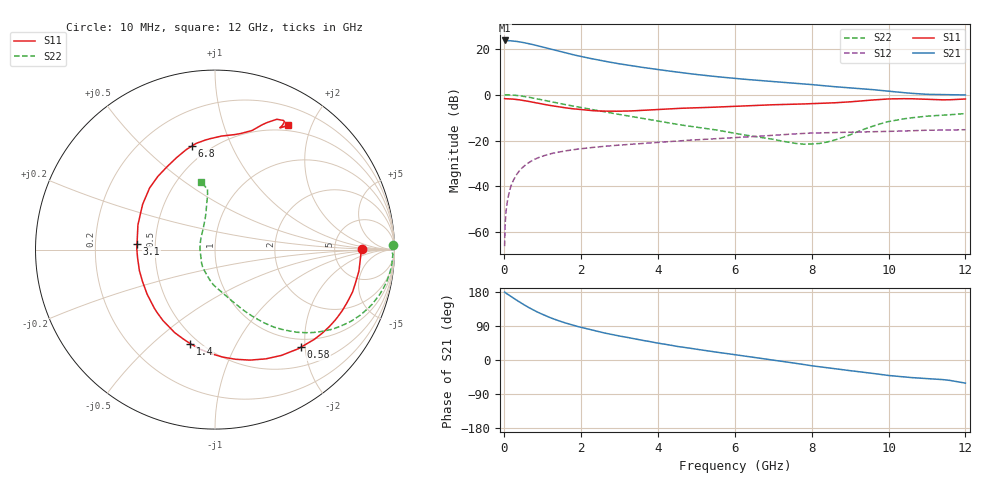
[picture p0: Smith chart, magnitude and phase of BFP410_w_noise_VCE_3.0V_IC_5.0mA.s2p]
! Infineon Technologies  Discrete & RF Semiconductors
! BFP410
! VCE =  3.0 V,  IC =  5.0 mA
! Common Emitter S-Parameters:  Nov 2015
# GHz  S  MA  R  50
!  f  S11  S21  S12  S22
! GHz  MAG  ANG  MAG  ANG  MAG  ANG  MAG  ANG
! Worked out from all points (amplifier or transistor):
!   243 points, 10 MHz to 12 GHz, reference 50 ohm
!   highest |S21| = 23.6 dB at 10 MHz (marker M1)
!   |S21| within 3 dB of that: start of sweep to 1.031 GHz
!   unconditionally stable (mu >= 1): 3.095 GHz to end of sweep
!   at 240 MHz: K = 0.10, MSG = 30.3 dB, |S12| = -37.3 dB
!   at 1.84 GHz: K = 0.63, MSG = 20.6 dB, |S12| = -23.9 dB
!   at 12 GHz: K = 1.07, MAG = 5.9 dB, |S12| = -15.3 dB
!   lowest NFmin = 1.00 dB at 900 MHz
!   S11 on the Smith chart (normalised r, x): 10 MHz: 9.96, +0.26; 580 MHz: 0.84, -1.92; 1.4 GHz: 0.45, -0.67; 3.1 GHz: 0.39, +0.03; 6.8 GHz: 0.41, +0.72; 12 GHz: 0.43, +1.66
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0.01  0.8177 0.3  15.09 179.2  0.0005 67.1  0.9921 1.6
0.03  0.8131 -2.1  14.99 177.5  0.0018 86.5  0.9864 -0.5
0.07  0.8107 -5.9  14.93 174.7  0.0041 86.2  0.9902 -2.6
0.2  0.8019 -17.1  14.76 166.1  0.0115 80.9  0.9795 -8.6
0.3  0.7865 -25.6  14.46 159.4  0.0169 77.1  0.9631 -12.8
0.44  0.7589 -37.3  13.88 150.4  0.0241 71.8  0.9322 -18.4
0.58  0.7247 -48.5  13.16 141.8  0.0305 66.8  0.8932 -23.6
0.7  0.6959 -57.9  12.54 135.1  0.0356 62.9  0.8573 -27.7
0.9  0.6459 -72.4  11.41 124.8  0.0427 57.3  0.7949 -33.7
1.16  0.5866 -89.8  10.02 113.3  0.0502 51.4  0.7158 -40.2
1.4  0.5424 -104.6  8.875 104.1  0.0556 47.0  0.6504 -45.1
1.7  0.5006 -121.1  7.712 94.4  0.0613 42.7  0.5817 -49.9
2.02  0.4677 -137.0  6.698 85.6  0.0666 39.2  0.5203 -54.1
2.6  0.4372 -164.4  5.354 71.5  0.0746 34.0  0.4226 -60.9
3.1  0.4356 175.9  4.535 61.5  0.0806 30.6  0.3574 -66.1
4.1  0.4791 145.7  3.421 43.0  0.0929 24.9  0.2572 -77.8
5  0.5174 128.0  2.742 28.3  0.1036 19.7  0.1954 -92.9
6.1  0.5592 111.4  2.214 12.6  0.1166 13.7  0.1385 -112.0
6.8  0.5915 102.4  1.978 2.6  0.1268 9.6  0.1124 -129.6
8.2  0.6413 83.3  1.592 -17.8  0.1466 -2.4  0.0862 163.6
10.2  0.8087 63.3  1.143 -42.7  0.1594 -16.1  0.2777 99.2
12  0.8021 59.6  0.982 -61.0  0.172 -30.7  0.3856 102.0
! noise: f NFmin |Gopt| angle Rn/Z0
0.45  1.02  0.27  4  0.25
0.9  1  0.24  16  0.19
1.8  1.16  0.15  54  0.17
2.4  1.16  0.15  52  0.2
5.5  2.1  0.32  -125  0.21
10  3.4  0.67  -52  1.79
